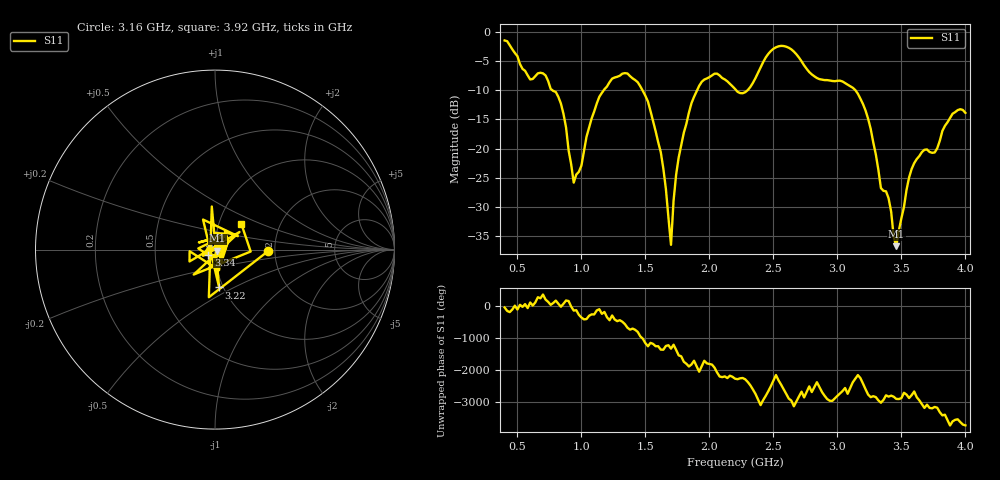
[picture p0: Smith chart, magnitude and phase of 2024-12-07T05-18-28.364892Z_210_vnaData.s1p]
!Created with skrf (http://scikit-rf.org).
# Hz S RI R 50.0
!freq ReS11 ImS11
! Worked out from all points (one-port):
!   181 points, 400 MHz to 4 GHz, reference 50 ohm
!   lowest |S11| = -36.7 dB at 3.46 GHz (marker M1), VSWR 1.03, Z = 51.3 - j0.612 ohm
!   |S11| at or under -10 dB: 773.8 MHz to 1.174 GHz (400.5 MHz wide, 41.1 % of centre); 1.477 GHz to 1.903 GHz (426.1 MHz wide, 25.2 % of centre); 3.141 GHz to end of sweep (the widest 3 of 4)
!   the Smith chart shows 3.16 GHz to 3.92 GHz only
!   S11 on the Smith chart (normalised r, x): 3.16 GHz: 1.84, -0.04; 3.22 GHz: 0.96, -0.42; 3.34 GHz: 0.93, -0.05; 3.92 GHz: 1.28, +0.39
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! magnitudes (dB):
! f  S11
! 400 MHz  -1.5
! 600 MHz  -8.1
! 720 MHz  -7.5
! 860 MHz  -14.0
! 940 MHz  -25.8
! 1.14 GHz  -11.1
! 1.3 GHz  -7.5
! 1.52 GHz  -11.9
! 1.62 GHz  -20.6
! 1.7 GHz  -36.5
! 1.72 GHz  -29.0
! 1.76 GHz  -21.5
! 1.86 GHz  -12.2
! 1.94 GHz  -8.5
! 2.2 GHz  -9.8
! 2.3 GHz  -10.0
! 2.5 GHz  -2.9
! 2.66 GHz  -3.4
! 2.84 GHz  -7.9
! 3.1 GHz  -9.3
! 3.16 GHz  -10.6
! 3.22 GHz  -13.5
! 3.34 GHz  -26.8
! 3.4 GHz  -28.5
! 3.46 GHz  -36.7
! 3.56 GHz  -24.9
! 3.92 GHz  -13.7
! 4 GHz  -13.9
